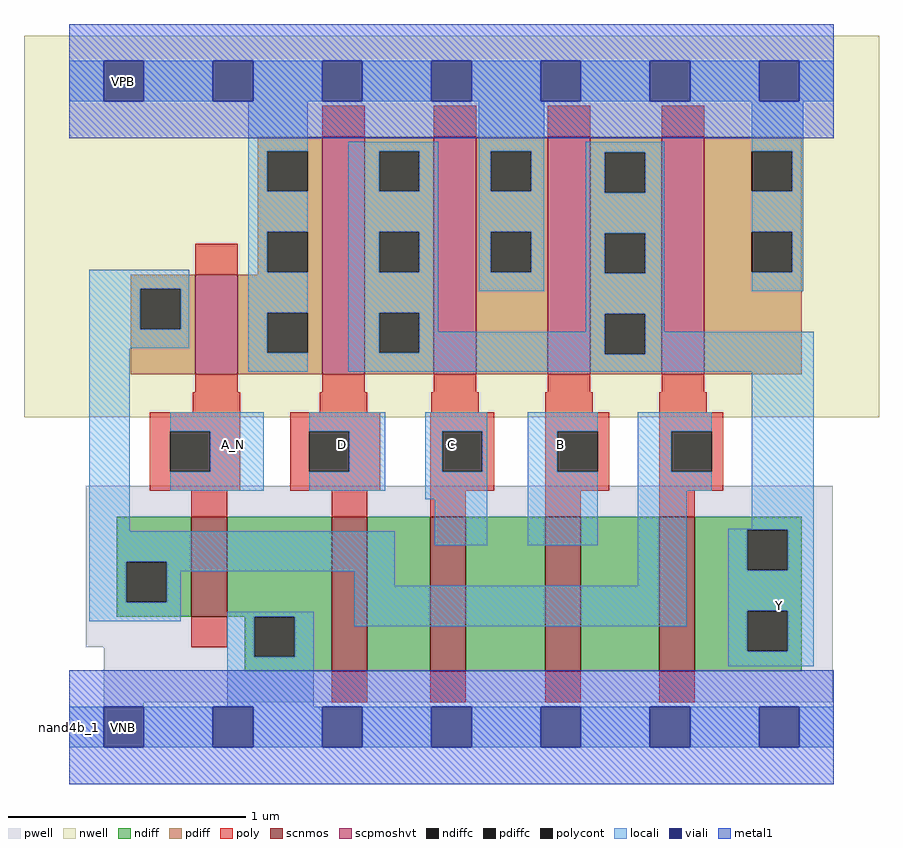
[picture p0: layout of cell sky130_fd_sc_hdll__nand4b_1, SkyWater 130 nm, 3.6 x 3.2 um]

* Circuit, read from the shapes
.subckt sky130_fd_sc_hdll__nand4b_1 A_N B C D VGND VNB VPB VPWR Y
XM1 VGND A_N n1 VNB sky130_fd_pr__nfet_01v8 w=0.42 l=0.15
XM2 n2 D VGND VNB sky130_fd_pr__nfet_01v8 w=0.65 l=0.15
XM3 n3 C n2 VNB sky130_fd_pr__nfet_01v8 w=0.65 l=0.15
XM4 n4 B n3 VNB sky130_fd_pr__nfet_01v8 w=0.65 l=0.15
XM5 Y n1 n4 VNB sky130_fd_pr__nfet_01v8 w=0.65 l=0.15
XM6 VPWR A_N n1 VPB sky130_fd_pr__pfet_01v8_hvt w=0.42 l=0.18
XM7 Y D VPWR VPB sky130_fd_pr__pfet_01v8_hvt w=1 l=0.18
XM8 VPWR C Y VPB sky130_fd_pr__pfet_01v8_hvt w=1 l=0.18
XM9 Y B VPWR VPB sky130_fd_pr__pfet_01v8_hvt w=1 l=0.18
XM10 VPWR n1 Y VPB sky130_fd_pr__pfet_01v8_hvt w=1 l=0.18
.ends

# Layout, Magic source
magic
tech sky130A
magscale 1 2
<< nwell >>
rect -38 261 682 582
<< pwell >>
rect 14 67 643 203
rect 29 21 643 67
rect 29 -17 63 21
<< scnmos >>
rect 103 93 133 177
rect 221 47 251 177
rect 304 47 334 177
rect 401 47 431 177
rect 497 47 527 177
<< scpmoshvt >>
rect 106 297 142 381
rect 213 297 249 497
rect 307 297 343 497
rect 403 297 439 497
rect 499 297 535 497
<< ndiff >>
rect 40 139 103 177
rect 40 105 48 139
rect 82 105 103 139
rect 40 93 103 105
rect 133 93 221 177
rect 148 59 156 93
rect 190 59 221 93
rect 148 47 221 59
rect 251 47 304 177
rect 334 47 401 177
rect 431 47 497 177
rect 527 166 617 177
rect 527 132 571 166
rect 605 132 617 166
rect 527 98 617 132
rect 527 64 571 98
rect 605 64 617 98
rect 527 47 617 64
<< pdiff >>
rect 159 485 213 497
rect 159 451 167 485
rect 201 451 213 485
rect 159 417 213 451
rect 159 383 167 417
rect 201 383 213 417
rect 159 381 213 383
rect 52 369 106 381
rect 52 335 60 369
rect 94 335 106 369
rect 52 297 106 335
rect 142 349 213 381
rect 142 315 167 349
rect 201 315 213 349
rect 142 297 213 315
rect 249 485 307 497
rect 249 451 261 485
rect 295 451 307 485
rect 249 417 307 451
rect 249 383 261 417
rect 295 383 307 417
rect 249 349 307 383
rect 249 315 261 349
rect 295 315 307 349
rect 249 297 307 315
rect 343 485 403 497
rect 343 451 355 485
rect 389 451 403 485
rect 343 417 403 451
rect 343 383 355 417
rect 389 383 403 417
rect 343 297 403 383
rect 439 484 499 497
rect 439 450 451 484
rect 485 450 499 484
rect 439 416 499 450
rect 439 382 451 416
rect 485 382 499 416
rect 439 348 499 382
rect 439 314 451 348
rect 485 314 499 348
rect 439 297 499 314
rect 535 485 617 497
rect 535 451 575 485
rect 609 451 617 485
rect 535 417 617 451
rect 535 383 575 417
rect 609 383 617 417
rect 535 297 617 383
<< ndiffc >>
rect 48 105 82 139
rect 156 59 190 93
rect 571 132 605 166
rect 571 64 605 98
<< pdiffc >>
rect 167 451 201 485
rect 167 383 201 417
rect 60 335 94 369
rect 167 315 201 349
rect 261 451 295 485
rect 261 383 295 417
rect 261 315 295 349
rect 355 451 389 485
rect 355 383 389 417
rect 451 450 485 484
rect 451 382 485 416
rect 451 314 485 348
rect 575 451 609 485
rect 575 383 609 417
<< poly >>
rect 213 497 249 523
rect 307 497 343 523
rect 403 497 439 523
rect 499 497 535 523
rect 106 381 142 407
rect 106 282 142 297
rect 213 282 249 297
rect 307 282 343 297
rect 403 282 439 297
rect 499 282 535 297
rect 104 265 144 282
rect 211 265 251 282
rect 305 265 345 282
rect 401 265 441 282
rect 497 265 537 282
rect 68 249 144 265
rect 68 215 85 249
rect 119 215 144 249
rect 68 199 144 215
rect 186 249 262 265
rect 186 215 202 249
rect 236 215 262 249
rect 186 199 262 215
rect 304 249 358 265
rect 304 215 314 249
rect 348 215 358 249
rect 304 199 358 215
rect 401 249 455 265
rect 401 215 411 249
rect 445 215 455 249
rect 401 199 455 215
rect 497 249 551 265
rect 497 215 507 249
rect 541 215 551 249
rect 497 199 551 215
rect 103 177 133 199
rect 221 177 251 199
rect 304 177 334 199
rect 401 177 431 199
rect 497 177 527 199
rect 103 67 133 93
rect 221 21 251 47
rect 304 21 334 47
rect 401 21 431 47
rect 497 21 527 47
<< polycont >>
rect 85 215 119 249
rect 202 215 236 249
rect 314 215 348 249
rect 411 215 445 249
rect 507 215 541 249
<< locali >>
rect 0 527 29 561
rect 63 527 121 561
rect 155 527 213 561
rect 247 527 305 561
rect 339 527 397 561
rect 431 527 489 561
rect 523 527 581 561
rect 615 527 644 561
rect 151 485 201 527
rect 151 451 167 485
rect 151 417 201 451
rect 17 369 101 385
rect 17 335 60 369
rect 94 335 101 369
rect 17 319 101 335
rect 151 383 167 417
rect 151 349 201 383
rect 17 165 51 319
rect 151 315 167 349
rect 151 299 201 315
rect 235 485 311 493
rect 235 451 261 485
rect 295 451 311 485
rect 235 417 311 451
rect 235 383 261 417
rect 295 383 311 417
rect 235 349 311 383
rect 345 485 400 527
rect 345 451 355 485
rect 389 451 400 485
rect 345 417 400 451
rect 345 383 355 417
rect 389 383 400 417
rect 345 367 400 383
rect 435 484 501 493
rect 435 450 451 484
rect 485 450 501 484
rect 435 416 501 450
rect 435 382 451 416
rect 485 382 501 416
rect 235 315 261 349
rect 295 333 311 349
rect 435 348 501 382
rect 575 485 618 527
rect 609 451 618 485
rect 575 417 618 451
rect 609 383 618 417
rect 575 367 618 383
rect 435 333 451 348
rect 295 315 451 333
rect 235 314 451 315
rect 485 333 501 348
rect 485 314 627 333
rect 235 299 627 314
rect 85 249 164 265
rect 119 215 164 249
rect 85 199 164 215
rect 202 249 266 265
rect 236 215 266 249
rect 202 199 266 215
rect 300 249 352 265
rect 300 215 314 249
rect 348 215 352 249
rect 300 192 352 215
rect 17 139 274 165
rect 308 153 352 192
rect 386 249 445 265
rect 386 215 411 249
rect 386 153 445 215
rect 479 249 541 265
rect 479 215 507 249
rect 479 199 541 215
rect 17 105 48 139
rect 82 131 274 139
rect 82 105 94 131
rect 17 89 94 105
rect 240 119 274 131
rect 479 119 520 199
rect 575 167 627 299
rect 133 93 206 97
rect 133 59 156 93
rect 190 59 206 93
rect 240 85 520 119
rect 555 166 627 167
rect 555 132 571 166
rect 605 132 627 166
rect 555 98 627 132
rect 133 17 206 59
rect 555 64 571 98
rect 605 64 627 98
rect 555 51 627 64
rect 0 -17 29 17
rect 63 -17 121 17
rect 155 -17 213 17
rect 247 -17 305 17
rect 339 -17 397 17
rect 431 -17 489 17
rect 523 -17 581 17
rect 615 -17 644 17
<< viali >>
rect 29 527 63 561
rect 121 527 155 561
rect 213 527 247 561
rect 305 527 339 561
rect 397 527 431 561
rect 489 527 523 561
rect 581 527 615 561
rect 29 -17 63 17
rect 121 -17 155 17
rect 213 -17 247 17
rect 305 -17 339 17
rect 397 -17 431 17
rect 489 -17 523 17
rect 581 -17 615 17
<< metal1 >>
rect 0 561 644 592
rect 0 527 29 561
rect 63 527 121 561
rect 155 527 213 561
rect 247 527 305 561
rect 339 527 397 561
rect 431 527 489 561
rect 523 527 581 561
rect 615 527 644 561
rect 0 496 644 527
rect 0 17 644 48
rect 0 -17 29 17
rect 63 -17 121 17
rect 155 -17 213 17
rect 247 -17 305 17
rect 339 -17 397 17
rect 431 -17 489 17
rect 523 -17 581 17
rect 615 -17 644 17
rect 0 -48 644 -17
<< labels >>
flabel locali s 581 85 615 119 0 FreeSans 250 0 0 0 Y
port 9 nsew signal output
flabel locali s 305 221 339 255 0 FreeSans 250 0 0 0 C
port 3 nsew signal input
flabel locali s 213 221 247 255 0 FreeSans 250 0 0 0 D
port 4 nsew signal input
flabel locali s 121 221 155 255 0 FreeSans 250 0 0 0 A_N
port 1 nsew signal input
flabel locali s 397 221 431 255 0 FreeSans 250 0 0 0 B
port 2 nsew signal input
flabel nwell s 29 527 63 561 0 FreeSans 200 0 0 0 VPB
port 7 nsew power bidirectional
flabel pwell s 29 -17 63 17 0 FreeSans 200 0 0 0 VNB
port 6 nsew ground bidirectional
flabel metal1 s 29 -17 63 17 0 FreeSans 200 0 0 0 VGND
port 5 nsew ground bidirectional
flabel metal1 s 29 527 63 561 0 FreeSans 200 0 0 0 VPWR
port 8 nsew power bidirectional
rlabel comment s 0 0 0 0 4 nand4b_1
<< properties >>
string LEFsite unithd
string LEFclass CORE
string FIXED_BBOX 0 0 644 544
string GDS_FILE $PDKPATH/libs.ref/sky130_fd_sc_hdll/gds/sky130_fd_sc_hdll.gds
string LEFsymmetry X Y R90
string GDS_END 1178322
string GDS_START 1172444
string LEFproperties maskLayoutSubType "abstract" prCellType "standard" originalViewName "layout"
<< end >>
